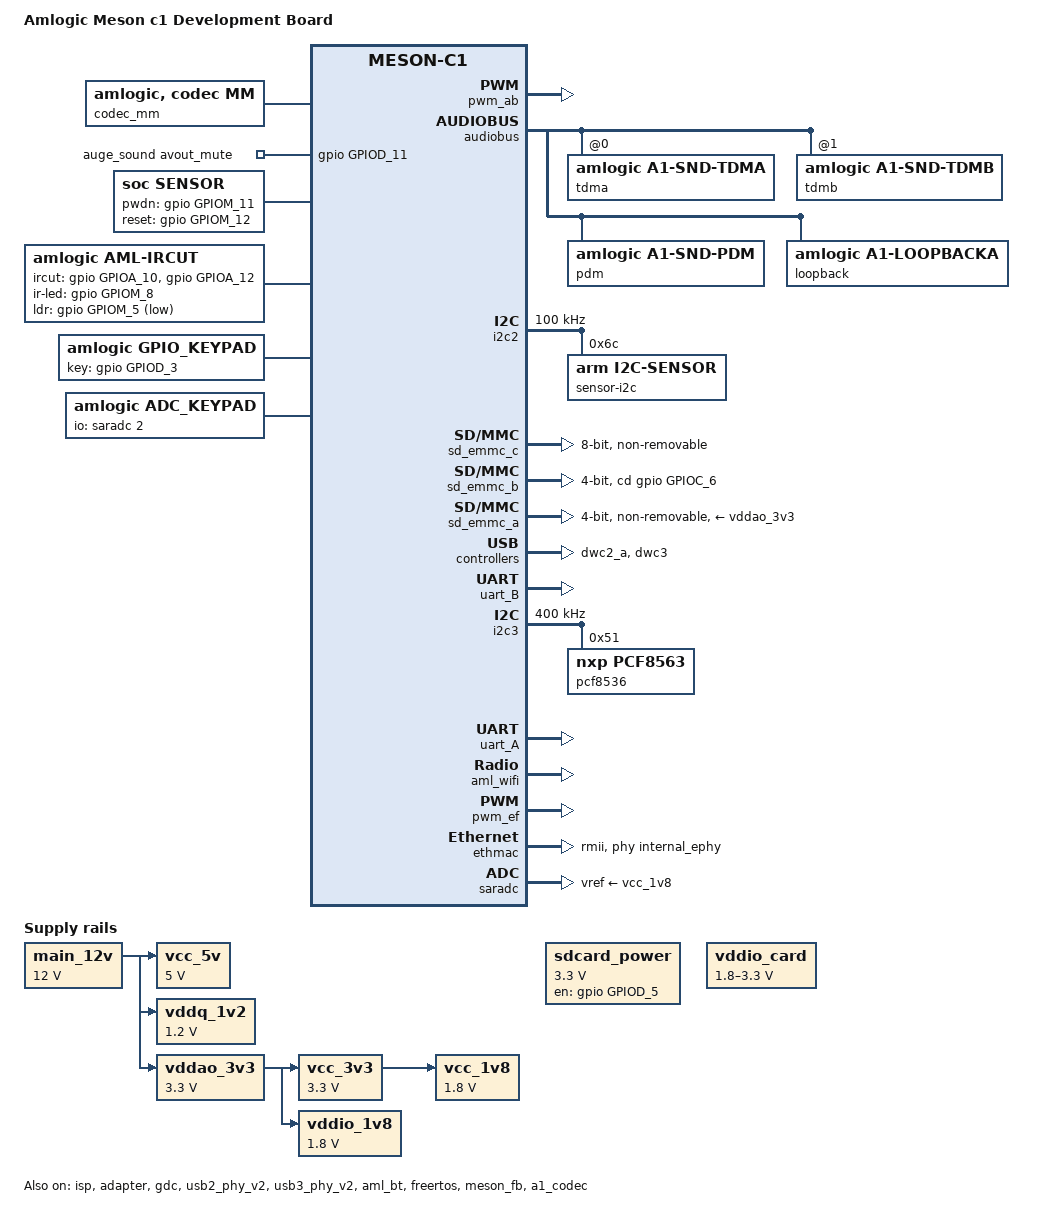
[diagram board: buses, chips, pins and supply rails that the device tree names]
// SPDX-License-Identifier: (GPL-2.0+ OR MIT)
/*
 * Copyright (c) 2019 Amlogic, Inc. All rights reserved.
 */

/dts-v1/;

#include "meson-c1.dtsi"

/ {
	compatible = "amlogic,c1";
	model = "Amlogic Meson c1 Development Board";

	aliases {
		serial0 = &uart_B;
		serial1 = &uart_A;
		serial2 = &uart_C;
		serial3 = &uart_D;
		serial4 = &uart_E;
		i2c0 = &i2c0;
		i2c1 = &i2c1;
		i2c2 = &i2c2;
		i2c3 = &i2c3;
		i2c4 = &i2c4;
		spi0 = &spifc;
		spi1 = &spicc0;
		spi2 = &spicc1;
		tsensor0 = &tsensor;
	};
	chosen {
		stdout-path = "serial0:115200n8";
	};
	memory@0 {
		device_type = "memory";
		linux,usable-memory = <0x0 0x0 0x0 0x80000000>;
	};

	reserved-memory {
		#address-cells = <2>;
		#size-cells = <2>;
		ranges;
		secmon_reserved:linux,secmon {
			compatible = "shared-dma-pool";
			reusable;
			size = <0x0 0x400000>;
			alignment = <0x0 0x400000>;
			alloc-ranges = <0x0 0x05000000 0x0 0x400000>;
		};

		dsp_fw_reserved0:linux,dsp_fw0 {
			compatible = "amlogic, dsp";
			size = <0x0 0x600000>;
			reg = <0x0 0x3400000 0x0 0x600000>;
		};

		dsp_fw_reserved1:linux,dsp_fw1 {
			compatible = "amlogic, dsp";
			size = <0x0 0x200000>;
			reg = <0x0 0x3a00000 0x0 0x200000>;
		};

		autocap_reserved:linux,autocap_reserved {
			compatible = "amlogic, aml_autocap_memory";
			status = "okay";
			size = <0x0 0x25800000>;
			alloc-ranges = <0x0 0x40000000 0x0 0x25800000>;
		};

		ramoops@0x07400000 {
			compatible = "ramoops";
			reg = <0x0 0x07400000 0x0 0x00100000>;
			record-size = <0x20000>;
			console-size = <0x20000>;
			ftrace-size = <0x80000>;
			pmsg-size = <0x0>;
			no-map;
		};

		debug_reserved:linux,iotrace {
			compatible = "amlogic, iotrace";
			reg = <0x0 0x0ff00000 0x0 0x00100000>;
			io-size = <0x1b000>;
			sched-size = <0x2000>;
			irq-size = <0x1000>;
			smc-size = <0x1000>;
			misc-size = <0x1000>;
		};

		fb_reserved:linux,meson-fb {
			compatible = "shared-dma-pool";
			reusable;
			size = <0x0 0x800000>;
			alignment = <0x0 0x400000>;
		};

		codec_mm_cma:linux,codec_mm_cma {
			compatible = "shared-dma-pool";
			reusable;
			/* ion_codec_mm max can alloc size 80M*/
			size = <0x0 0x13400000>;
			alignment = <0x0 0x400000>;
			linux,contiguous-region;
		};
		/* codec shared reserved */
		codec_mm_reserved:linux,codec_mm_reserved {
			compatible = "amlogic, codec-mm-reserved";
			size = <0x0 0x0>;
			alignment = <0x0 0x100000>;
			//no-map;
		};

		isp_cma_reserved:linux,isp_cma {
			compatible = "shared-dma-pool";
			reusable;
			status = "okay";
			size = <0x0 0x10000000>;
			alignment = <0x0 0x400000>;
		};

		adapt_cma_reserved:linux,adapt_cma {
			compatible = "shared-dma-pool";
			reusable;
			status = "okay";
			size = <0x0 0x1800000>;
		};

		ion_cma_reserved:linux,ion-dev {
			compatible = "shared-dma-pool";
			reusable;
			size = <0x0 0x8000000>;
			alignment = <0x0 0x400000>;
		};

		gdc_cma_reserved:linux,gdc_cma {
			compatible = "shared-dma-pool";
			reusable;
			status = "okay";
			size = <0x0 0x04000000>;
			alignment = <0x0 0x400000>;
		};

		jpegenc_cma_reserved:linux,jpegenc_cma {
			compatible = "shared-dma-pool";
			reusable;
			status = "disabled";
			size = <0x0 0x2400000>;
			alignment = <0x0 0x400000>;
		};
	};

	free_reserved {
		compatible = "amlogic, free_reserved";
		memory-region = <&autocap_reserved>;
		status = "okay";
	};

	codec_mm {
		compatible = "amlogic, codec, mm";
		memory-region = <&codec_mm_cma &codec_mm_reserved>;
		dev_name = "codec_mm";
		status = "okay";
	};

	main_12v: regulator-main_12v {
		compatible = "regulator-fixed";
		regulator-name = "12V";
		regulator-min-microvolt = <12000000>;
		regulator-max-microvolt = <12000000>;
		regulator-always-on;
	};

	vcc_5v: regulator-vcc_5v {
		compatible = "regulator-fixed";
		regulator-name = "VCC_5V";
		regulator-min-microvolt = <5000000>;
		regulator-max-microvolt = <5000000>;
		vin-supply = <&main_12v>;
		regulator-always-on;
	};

	vddq_1v2: regulator-vddq_1v2 {
		compatible = "regulator-fixed";
		regulator-name = "VDDQ_1V2";
		regulator-min-microvolt = <1200000>;
		regulator-max-microvolt = <1200000>;
		vin-supply = <&main_12v>;
		regulator-always-on;
	};

	vddao_3v3: regulator-vddao_3v3 {
		compatible = "regulator-fixed";
		regulator-name = "VDDAO_3V3";
		regulator-min-microvolt = <3300000>;
		regulator-max-microvolt = <3300000>;
		vin-supply = <&main_12v>;
		regulator-always-on;
	};

	vcc_3v3: regulator-vcc_3v3 {
		compatible = "regulator-fixed";
		regulator-name = "VCC_3V3";
		regulator-min-microvolt = <3300000>;
		regulator-max-microvolt = <3300000>;
		vin-supply = <&vddao_3v3>;
		regulator-always-on;
	};

	vddio_1v8: regulator-vddio_1v8 {
		compatible = "regulator-fixed";
		regulator-name = "VDDIO_1V8";
		regulator-min-microvolt = <1800000>;
		regulator-max-microvolt = <1800000>;
		vin-supply = <&vddao_3v3>;
		regulator-always-on;
	};

	vcc_1v8: regulator-vcc_1v8 {
		compatible = "regulator-fixed";
		regulator-name = "VCC_1V8";
		regulator-min-microvolt = <1800000>;
		regulator-max-microvolt = <1800000>;
		vin-supply = <&vcc_3v3>;
		regulator-always-on;
	};

	sdcard_power: regulator-sdcard {
		compatible = "regulator-fixed";

		regulator-name = "SDCARD_POWER";
		regulator-min-microvolt = <3300000>;
		regulator-max-microvolt = <3300000>;

		gpio = <&gpio GPIOD_5 GPIO_ACTIVE_HIGH>;
		enable-active-high;
		regulator-boot-on;
	};

	vddio_card: gpio-regulator {
		compatible = "regulator-gpio";

		regulator-name = "VDDIO_CARD";
		regulator-min-microvolt = <1800000>;
		regulator-max-microvolt = <3300000>;

		gpios = <&gpio GPIOC_7 GPIO_ACTIVE_LOW>;
		gpios-states = <1>;

		/* Based on P200 schematics, signal CARD_1.8V/3.3V_CTR */
		states = <1800000 1
			3300000 0>;
	};

	/* Audio Related start */
	pdm_codec:pdm_codec{
		#sound-dai-cells = <0>;
		compatible = "amlogic, pdm_dummy_codec";
		status = "okay";
	};

	dummy_codec:dummy_codec{
		#sound-dai-cells = <0>;
		compatible = "amlogic, aml_dummy_codec";
		status = "okay";
	};

	a1_codec:a1_codec {
		#sound-dai-cells = <0>;
		compatible = "amlogic, a1_acodec";
		status = "okay";
		reg = <0x0 0xFE004800 0x0 0x20>;
		tdmout_index = <1>;
		tdmin_index = <1>;
		dat0_ch_sel = <0>;
		dacr_output_inv = <0>;
		power-domains = <&pwrdm PDID_CX_ACODEC>;
	};

	partitions: partitions{
		parts = <16>;
		part-0 = <&rtos>;
		part-1 = <&NBG>;
		part-2 = <&dspA>;
		part-3 = <&dspB>;
		part-4 = <&recovery>;
		part-5 = <&misc>;
		part-6 = <&dto>;
		part-7 = <&cri_data>;
		part-8 = <&param>;
		part-9 = <&boot>;
		part-10 = <&rsv>;
		part-11= <&tee>;
		part-12 = <&vendor>;
		part-13 = <&odm>;
		part-14 = <&system>;
		part-15 = <&data>;

		rtos:rtos{
			pname = "rtos-0";
			size = <0x0 0x800000>;
			mask = <8>;
		};
		NBG:NBG{
			pname = "NBG";
			size = <0x0 0x200000>;
			mask = <8>;
		};
		dspA:dspA{
			pname = "dspA";
			size = <0x0 0x200000>;
			mask = <1>;
		};
		dspB:dspB{
			pname = "dspB";
			size = <0x0 0x200000>;
			mask = <1>;
		};
		recovery:recovery{
			pname = "recovery";
			size = <0x0 0x3000000>;
			mask = <1>;
		};
		misc:misc{
			pname = "misc";
			size = <0x0 0x800000>;
			mask = <1>;
		};
		dto:dto{
			pname = "dto";
			size = <0x0 0x800000>;
			mask = <1>;
		};
		cri_data:cri_data{
			pname = "cri_data";
			size = <0x0 0x800000>;
			mask = <2>;
		};
		rsv:rsv{
			pname = "rsv";
			size = <0x0 0x1000000>;
			mask = <1>;
		};
		param:param{
			pname = "param";
			size = <0x0 0x1000000>;
			mask = <2>;
		};
		boot:boot{
			pname = "boot";
			size = <0x0 0x3000000>;
			mask = <1>;
		};
		tee:tee{
			pname = "tee";
			size = <0x0 0x2000000>;
			mask = <1>;
		};
		vendor:vendor{
			pname = "vendor";
			size = <0x0 0x10000000>;
			mask = <1>;
		};
		odm:odm{
			pname = "odm";
			size = <0x0 0x10000000>;
			mask = <1>;
		};
		system:system{
			pname = "system";
			size = <0x0 0x80000000>;
			mask = <1>;
		};
		data:data{
			pname = "data";
			size = <0xffffffff 0xffffffff>;
			mask = <4>;
		};
	};

	auge_sound {
		compatible = "amlogic, auge-sound-card";
		aml-audio-card,name = "AML-AUGESOUND";

		/*avout mute gpio*/
		avout_mute-gpios = <&gpio GPIOD_11 GPIO_ACTIVE_HIGH>;

		aml-audio-card,dai-link@0 {
			format = "dsp_a";
			mclk-fs = <512>;
			//continuous-clock;
			//bitclock-inversion;
			//frame-inversion;
			/* master mode */
			bitclock-master = <&tdma>;
			frame-master = <&tdma>;
			/* slave mode */
			/*
			 * bitclock-master = <&tdmacodec>;
			 * frame-master = <&tdmacodec>;
			 */
			suffix-name = "alsaPORT-pcm";
			tdmacpu: cpu {
				sound-dai = <&tdma>;
				dai-tdm-slot-tx-mask =
							<1 1 1 1 1 1 1 1>;
				dai-tdm-slot-rx-mask =
							<1 1 1 1 1 1 1 1>;
				dai-tdm-slot-num = <8>;
				dai-tdm-slot-width = <32>;
				system-clock-frequency = <24576000>;
			};
			tdmacodec: codec {
				sound-dai = <&dummy_codec>;
			};
		};

		aml-audio-card,dai-link@1 {
			format = "i2s";// "dsp_a";
			mclk-fs = <256>;
			//continuous-clock;
			//bitclock-inversion;
			//frame-inversion;
			/* master mode */
			bitclock-master = <&tdmb>;
			frame-master = <&tdmb>;
			/* slave mode */
			//bitclock-master = <&tdmbcodec>;
			//frame-master = <&tdmbcodec>;
			/* suffix-name, sync with android audio hal
			 * what's the dai link used for
			 */
			suffix-name = "alsaPORT-i2s";
			tdmbcpu: cpu {
				sound-dai = <&tdmb>;
				dai-tdm-slot-tx-mask = <1 1>;
				dai-tdm-slot-rx-mask = <1 1>;
				dai-tdm-slot-num = <2>;
				dai-tdm-slot-width = <32>;
				system-clock-frequency = <24576000>;
			};
			tdmbcodec: codec {
				sound-dai = <&a1_codec>;
			};
		};

#if 0
		aml-audio-card,dai-link@2 {
			format = "i2s";// "dsp_a";
			mclk-fs = <256>;
			//continuous-clock;
			//bitclock-inversion;
			//frame-inversion;
			/* master mode */
			bitclock-master = <&tdmlb>;
			frame-master = <&tdmlb>;
			/* slave mode */
			//bitclock-master = <&tdmlbcodec>;
			//frame-master = <&tdmlbcodec>;
			/* suffix-name, sync with android audio hal
			 * what's the dai link used for
			 */
			suffix-name = "alsaPORT-i2s";
			cpu {
				sound-dai = <&tdmlb>;
				dai-tdm-slot-tx-mask = <1 1>;
				dai-tdm-slot-rx-mask = <1 1>;
				dai-tdm-slot-num = <2>;
				dai-tdm-slot-width = <32>;
				system-clock-frequency = <12288000>;
			};
			tdmlbcodec: codec {
				sound-dai = <&dummy_codec>;
			};
		};
#endif

		aml-audio-card,dai-link@2 {
			mclk-fs = <64>;
			/* suffix-name, sync with android audio hal
			 * what's the dai link used for
			 */
			suffix-name = "alsaPORT-pdm";
			cpu {
				sound-dai = <&pdm>;
			};
			codec {
				sound-dai = <&dummy_codec>;
			};
		};

#if 0
		aml-audio-card,dai-link@3 {
			mclk-fs = <128>;
			/* suffix-name, sync with android audio hal used for */
			suffix-name = "alsaPORT-spdif";
			cpu {
				sound-dai = <&spdifa>;
				system-clock-frequency = <6144000>;
			};
			codec {
				sound-dai = <&dummy_codec>;
			};
		};
#endif

		aml-audio-card,dai-link@4 {
			mclk-fs = <256>;
			continuous-clock;
			suffix-name = "alsaPORT-loopback";
			cpu {
				sound-dai = <&loopback>;
				system-clock-frequency = <12288000>;
			};
			codec {
				sound-dai = <&dummy_codec>;
			};
		};
	};
	audiolocker: locker {
		compatible = "amlogic, audiolocker";
		clocks = <&clkaudio CLKID_AUDIO_LOCKER_OUT
				&clkaudio CLKID_AUDIO_LOCKER_IN
				&clkaudio CLKID_AUDIO_MCLK_C
				&clkaudio CLKID_AUDIO_MCLK_D
				&clkc CLKID_FCLK_DIV2
				&clkc CLKID_FCLK_DIV3>;
		clock-names = "lock_out", "lock_in", "out_src",
					"in_src", "out_calc", "in_ref";
		interrupts = <GIC_SPI 42 IRQ_TYPE_EDGE_RISING>;
		interrupt-names = "irq";
		frequency = <49000000>; /* pll */
		dividor = <49>; /* locker's parent */
		power-domains = <&pwrdm PDID_CX_AUDIO>;
		status = "okay";
	};
	/* Audio Related end */
	sensor: sensor {
		compatible = "soc, sensor";
		status = "okay";
		sensor-name = "os08a10"; /*imx290;os08a10;imx227*/
		pinctrl-names= "default", "mclk37_pin";
		pinctrl-0= <&clk12_24_m13_pins>;
		pinctrl-1= <&cmclkout2_pins>;
		//clocks = <&clkc CLKID_24M
		//			&clkc CLKID_GP_DIV2_DIV>;
		clock-names = "g12a_24m","mclk_0";
		pwdn = <&gpio GPIOM_11 GPIO_ACTIVE_HIGH>;
		reset = <&gpio GPIOM_12 GPIO_ACTIVE_HIGH>;
#if 0
		ir_cut_gpio = <&gpio GPIOA_10 GPIO_ACTIVE_HIGH
				&gpio GPIOA_12 GPIO_ACTIVE_HIGH>;
#endif
	};

	iq: iq {
		compatible = "soc, iq";
		status = "okay";
		sensor-name = "os08a10"; /*imx290;os08a10;imx227*/
	};

	lens: lens {
		compatible = "soc, lens";
		status = "okay";
		sensor-name = "imx307"; /*imx290;os08a10;imx227*/
	};

	ircut: ircut {
		compatible = "amlogic, aml-ircut";
		status = "okay";
		ircut-gpio = <&gpio GPIOA_10 GPIO_ACTIVE_HIGH
				&gpio GPIOA_12 GPIO_ACTIVE_HIGH>;
		ir-led-gpio = <&gpio GPIOM_8 GPIO_ACTIVE_HIGH>;
		ldr-gpio = <&gpio GPIOM_5 GPIO_ACTIVE_LOW>;
		// sequence description
		//   0: port 0(GPIOA_10), 0=0, set port 0 to Low
		//   w: wait mseconds
		ircut-sequence = "init: 1=1,w=200,1=0,w=1000,0=1,w=200,0=0,w=1000",
				"enable: 1=1,w=200,1=0,w=1000,0=0",
				"disable: 0=1,w=200,0=0,w=1000,1=0";
		ir-led-sequence = "init: 0=0",
				"enable: 0=1",
				"disable: 0=0";
	};

	cpu_opp_table0: cpu_opp_table0 {
		compatible = "operating-points-v2";
		opp-shared;

		opp00 {
			opp-hz = /bits/ 64 <100000000>;
			opp-microvolt = <910000>;
		};
		opp01 {
			opp-hz = /bits/ 64 <250000000>;
			opp-microvolt = <910000>;
		};
		opp02 {
			opp-hz = /bits/ 64 <500000000>;
			opp-microvolt = <910000>;
		};
		opp03 {
			opp-hz = /bits/ 64 <666666666>;
			opp-microvolt = <910000>;
		};
		opp04 {
			opp-hz = /bits/ 64 <1000000000>;
			opp-microvolt = <910000>;
		};
		opp05 {
			opp-hz = /bits/ 64 <1200000000>;
			opp-microvolt = <910000>;
		};
		opp06 {
			opp-hz = /bits/ 64 <1416000000>;
			opp-microvolt = <980000>;
		};
		opp07 {
			opp-hz = /bits/ 64 <1512000000>;
			opp-microvolt = <980000>;
		};
	};

	cpu_opp_table1: cpu_opp_table1 {
		compatible = "operating-points-v2";
		opp-shared;

		opp00 {
			opp-hz = /bits/ 64 <100000000>;
			opp-microvolt = <880000>;
		};
		opp01 {
			opp-hz = /bits/ 64 <250000000>;
			opp-microvolt = <880000>;
		};
		opp02 {
			opp-hz = /bits/ 64 <500000000>;
			opp-microvolt = <880000>;
		};
		opp03 {
			opp-hz = /bits/ 64 <666666666>;
			opp-microvolt = <880000>;
		};
		opp04 {
			opp-hz = /bits/ 64 <1000000000>;
			opp-microvolt = <880000>;
		};
		opp05 {
			opp-hz = /bits/ 64 <1200000000>;
			opp-microvolt = <880000>;
		};
		opp06 {
			opp-hz = /bits/ 64 <1416000000>;
			opp-microvolt = <930000>;
		};
		opp07 {
			opp-hz = /bits/ 64 <1512000000>;
			opp-microvolt = <930000>;
		};
	};

	cpu_opp_table2: cpu_opp_table2 {
		compatible = "operating-points-v2";
		opp-shared;

		opp00 {
			opp-hz = /bits/ 64 <100000000>;
			opp-microvolt = <860000>;
		};
		opp01 {
			opp-hz = /bits/ 64 <250000000>;
			opp-microvolt = <860000>;
		};
		opp02 {
			opp-hz = /bits/ 64 <500000000>;
			opp-microvolt = <860000>;
		};
		opp03 {
			opp-hz = /bits/ 64 <666666666>;
			opp-microvolt = <860000>;
		};
		opp04 {
			opp-hz = /bits/ 64 <1000000000>;
			opp-microvolt = <860000>;
		};
		opp05 {
			opp-hz = /bits/ 64 <1200000000>;
			opp-microvolt = <860000>;
		};
		opp06 {
			opp-hz = /bits/ 64 <1416000000>;
			opp-microvolt = <910000>;
		};
		opp07 {
			opp-hz = /bits/ 64 <1512000000>;
			opp-microvolt = <910000>;
		};
	};

	cpu_opp_table3: cpu_opp_table3 {
		compatible = "operating-points-v2";
		opp-shared;

		opp00 {
			opp-hz = /bits/ 64 <100000000>;
			opp-microvolt = <830000>;
		};
		opp01 {
			opp-hz = /bits/ 64 <250000000>;
			opp-microvolt = <830000>;
		};
		opp02 {
			opp-hz = /bits/ 64 <500000000>;
			opp-microvolt = <830000>;
		};
		opp03 {
			opp-hz = /bits/ 64 <666666666>;
			opp-microvolt = <830000>;
		};
		opp04 {
			opp-hz = /bits/ 64 <1000000000>;
			opp-microvolt = <830000>;
		};
		opp05 {
			opp-hz = /bits/ 64 <1200000000>;
			opp-microvolt = <830000>;
		};
		opp06 {
			opp-hz = /bits/ 64 <1416000000>;
			opp-microvolt = <880000>;
		};
		opp07 {
			opp-hz = /bits/ 64 <1512000000>;
			opp-microvolt = <880000>;
		};
	};

	cpufreq-meson {
		compatible = "amlogic, cpufreq-meson";
		status = "okay";
	};

	gpio_keypad{
		compatible = "amlogic, gpio_keypad";
		status = "okay";
		scan_period = <20>;
		key_num = <1>;
		key_name = "power";
		key_code = <116>;
		key-gpios = <&gpio  GPIOD_3  GPIO_ACTIVE_HIGH>;
		detect_mode = <0>;/*0:polling mode, 1:irq mode*/
	};

	adc_keypad {
		compatible = "amlogic, adc_keypad";
		status = "okay";
		key_name = "update", "vol-", "vol+", "ok";
		key_num = <4>;
		io-channels = <&saradc 2>;
		io-channel-names = "key-chan-2";
		key_chan = <2 2 2 2>;
		key_code = <141 114 115 28>;
		key_val = <0 143 266 389>; //val=voltage/1800mV*1023
		key_tolerance = <40 40 40 40>;
	};
};

&cpu0 {
	cpu-supply = <&vddcpu0>;
	/*set different table cpufreq max*/
	multi_tables_available;
	operating-points-v2 = <&cpu_opp_table0>,
			<&cpu_opp_table1>,
			<&cpu_opp_table2>,
			<&cpu_opp_table3>;
};

&cpu1 {
	cpu-supply = <&vddcpu0>;
	/*set different table cpufreq max*/
	multi_tables_available;
	operating-points-v2 = <&cpu_opp_table0>,
			<&cpu_opp_table1>,
			<&cpu_opp_table2>,
			<&cpu_opp_table3>;
};

&pwm_ab {
	status = "okay";
};

&vddcpu0 {
	status = "okay";
};

/* Audio Related start */
&audiobus {
	tdma: tdm@0 {
		compatible = "amlogic, a1-snd-tdma";
		#sound-dai-cells = <0>;
		dai-tdm-lane-slot-mask-in = <0 1>;
		dai-tdm-lane-oe-slot-mask-out = <1 0>;
		dai-tdm-clk-sel = <0>;
		clocks = <&clkaudio CLKID_AUDIO_MCLK_A
				&clkc CLKID_FCLK_DIV3>;
		clock-names = "mclk", "clk_srcpll";
		pinctrl-names = "tdm_pins";
		pinctrl-0 = <&tdmout_a &tdmin_a>;
		power-domains = <&pwrdm PDID_CX_AUDIO>;

		status = "okay";
	};

	tdmb: tdm@1 {
		compatible = "amlogic, a1-snd-tdmb";
		#sound-dai-cells = <0>;
		dai-tdm-lane-slot-mask-in = <1 0 0 0>;
		dai-tdm-lane-slot-mask-out = <1 0 0 0>;
		/* dai-tdm-lane-oe-slot-mask-in = <0 1>; */
		dai-tdm-clk-sel = <1>;
		clocks = <&clkaudio CLKID_AUDIO_MCLK_B
				&clkc CLKID_AUD_DDS>;
				//&clkaudio CLKID_AUDIO_SPDIFOUT_A>;
		clock-names = "mclk", "clk_srcpll";
		pinctrl-names = "tdm_pins";
		pinctrl-0 = <&tdmb_mclk &tdmout_b /*&tdmin_b*/>;

		mclk_pad = <0>;  /* 0: mclk_0; 1: mclk_1 */

		/* tdmin data comes from ACODEC adc */
		acodec_adc = <1>;

		/*
		 * 0: tdmout_a;
		 * 1: tdmout_b;
		 * 2: tdmout_c;
		 * 3: spdifout;
		 * 4: spdifout_b;
		 */
		//samesource_sel = <3>;
		start_clk_enable = <1>;
		src-clk-freq = <24576000>;
		power-domains = <&pwrdm PDID_CX_AUDIO>;

		status = "okay";
	};

	spdifa: spdif@0 {
		compatible = "amlogic, a1-snd-spdif-a";
		#sound-dai-cells = <0>;
		clocks = <&clkc CLKID_FCLK_DIV3
				&clkaudio CLKID_AUDIO_GATE_SPDIFIN
				&clkaudio CLKID_AUDIO_SPDIFIN>;
		clock-names = "fixed_clk", "gate_spdifin", "clk_spdifin";
		interrupts =
				<GIC_SPI 39 IRQ_TYPE_EDGE_RISING>;

		interrupt-names = "irq_spdifin";
		pinctrl-names = "spdif_pins";
		pinctrl-0 = <&spdifin>;
		power-domains = <&pwrdm PDID_CX_AUDIO>;

		status = "disabled";
	};

	pdm: pdm {
		compatible = "amlogic, a1-snd-pdm";
		#sound-dai-cells = <0>;

		clocks = <&clkaudio CLKID_AUDIO2_GATE_PDM
			&clkc CLKID_FCLK_DIV2
			&clkc CLKID_AUD_DDS
			&clkaudio CLKID_AUDIO2_PDM_DCLK
			&clkaudio CLKID_AUDIO2_PDM_SYSCLK>;
		clock-names = "gate",
			"sysclk_srcpll",
			"dclk_srcpll",
			"pdm_dclk",
			"pdm_sysclk";

		pinctrl-names = "pdm_pins";
		pinctrl-0 = <&pdmin>;

		/* mode 0~4, defalut:1 */
		filter_mode = <1>;
		lane-mask-in = <1 1 0 0>;
		src-clk-freq = <24576000>;
		power-domains = <&pwrdm PDID_CX_PDM>;
		train_sample_count = <10>;
		status = "okay";
	};

	asrcb: resample@1 {
		compatible = "amlogic, a1-resample-b";
		clocks = <&clkc CLKID_AUD_DDS
			&clkaudio CLKID_AUDIO_MCLK_D
			&clkaudio CLKID_AUDIO_RESAMPLEA>;
		clock-names = "resample_pll", "resample_src", "resample_clk";

		/*this resample is only used for loopback_A.*/
		/*only support 16000 or 48000Hz for capture*/
		capture_sample_rate = <16000>;
		src-clk-freq = <24576000>;
		status = "disabled";
	};

	loopback: loopback {
		compatible = "amlogic, a1-loopbacka";
		#sound-dai-cells = <0>;

		clocks = <&clkaudio CLKID_AUDIO2_GATE_PDM
			&clkc CLKID_FCLK_DIV2
			&clkc CLKID_AUD_DDS
			&clkaudio CLKID_AUDIO2_PDM_DCLK
			&clkaudio CLKID_AUDIO2_PDM_SYSCLK
			&clkc CLKID_AUD_DDS
			&clkaudio CLKID_AUDIO_MCLK_C>;
		clock-names = "pdm_gate",
			"pdm_sysclk_srcpll",
			"pdm_dclk_srcpll",
			"pdm_dclk",
			"pdm_sysclk",
			"tdminlb_mpll",
			"tdminlb_mclk";

		/* datain src
		 * 0: tdmin_a;
		 * 1: tdmin_b;
		 * 2: tdmin_c;
		 * 3: spdifin;
		 * 4: pdmin;
		 */
		datain_src = <1>;
		datain_chnum = <1>;
		datain_chmask = <0x1>;
		/* config which data pin for loopback */
		datain-lane-mask-in = <1 0 0 0>;

		/* calc mclk for datalb */
		mclk-fs = <256>;

		/* tdmin_lb src
		 * 0: tdmoutA
		 * 1: tdmoutB
		 * 2: tdmoutC
		 * 3: PAD_TDMINA_DIN*, refer to core pinmux
		 * 4: PAD_TDMINB_DIN*, refer to core pinmux
		 * 5: PAD_TDMINC_DIN*, refer to core pinmux
		 * 6: PAD_TDMINA_D*, oe, refer to core pinmux
		 * 7: PAD_TDMINB_D*, oe, refer to core pinmux
		 */
		/* if tdmin_lb >= 3, use external loopback */
		datalb_src = <1>;
		datalb_chnum = <2>;
		datalb_chmask = <0x1>;
		/* config which data pin as loopback */
		datalb-lane-mask-in = <1 0 0 0>;
		src-clk-freq = <24576000>;
		power-domains = <&pwrdm PDID_CX_AUDIO>;

		status = "okay";
	};
}; /* end of audiobus */
/* Audio Related end */

&i2c2 {
	status = "okay";
	pinctrl-names="default";
	pinctrl-0=<&i2c2_master_pins2>;
	clock-frequency = <100000>; /* default 100k */
	sensor-i2c@6c {
		compatible = "arm, i2c-sensor";
		reg = <0x6c>;
		reg-names = "i2c-sensor";
		slave-addr = <0x6c>;
		reg-type = <2>;
		reg-data-type = <1>;
		link-device = <&phycsi>;
	};
};

&isp {
	status = "okay";
	temper-line-offset = <0x1680>;
	temper-buf-size = <12>;
	temper-frame-num = <1>;
	temper-frame-size = <0xBDD800>;
	memory-region = <&isp_cma_reserved>;
};

&adapter {
	status = "okay";
	mem_alloc = <24>;
	memory-region = <&adapt_cma_reserved>;
};

&pinctrl_periphs {
	/* Audio Related start */
	tdmout_a: tdmout_a {
		mux { /* GPIOX_11, GPIOX_10, GPIOX_9 */
			groups = "tdm_a_sclk",
				"tdm_a_fs",
				"tdm_a_dout0";
			function = "tdm_a";
		};
	};

	tdmin_a: tdmin_a {
		mux { /* GPIOX_8 */
			groups = "tdm_a_din1";
			function = "tdm_a";
		};
	};

	tdmb_mclk: tdmb_mclk {
		mux {
			groups = "mclk_0";
			function = "mclk_0";
			drive-strength = <2>;
		};
	};

	tdmout_b: tdmout_b {
		mux { /* GPIOA_1, GPIOA_2, GPIOA_3 */
			groups = "tdm_b_sclk",
				"tdm_b_fs",
				"tdm_b_dout0";
			function = "tdm_b";
			drive-strength = <2>;
		};
	};

	tdmin_b:tdmin_b {
		mux { /* GPIOA_7 */
			groups = "tdm_b_din0";
			function = "tdm_b";
			drive-strength = <2>;
		};
	};

	spdifin: spdifin {
		mux {/* GPIOF_6 */
			groups = "spdif_in_f6";
			function = "spdif_in";
		};
	};

	pdmin: pdmin {
		mux { /* GPIOA_6, GPIOA_7, GPIOA_8, GPIOA_9 */
			groups =
				"pdm_din1_m",
				"pdm_din0_m",
				"pdm_dclk_m";
			function = "pdm";
		};
	};

	/* Audio Related end */
	cmclkout2_pins:cmclkout2_pins {
		mux {
			groups = "cmclkout2";
			function = "cmclkout";
			drive-strength = <4>;
		};
	};
	clk12_24_m13_pins:clk12_24_m13_pins {
		mux {
			groups = "clk12_24_m13";
			function = "clk12_24";
			drive-strength = <4>;
		};
	};
}; /* end of pinctrl_periphs */

&gdc {
	status = "okay";
	memory-region = <&gdc_cma_reserved>;
};

&sd_emmc_c {
	status = "okay";
	pinctrl-0 = <&emmc_pins>;
	pinctrl-1 = <&emmc_clk_gate_pins>;
	pinctrl-names = "default", "clk-gate";
	bus-width = <8>;
	cap-sd-highspeed;
	cap-mmc-highspeed;
//	cap-mmc-hw-reset;
	max-frequency = <50000000>;
	non-removable;
	disable-wp;
//	mmc-cap-erase;
	//mmc-ddr-1_8v;
//	mmc-hs200-1_8v;
//	mmc-hs400-1_8v;
	card_type = <1>;/*emmc:1,sdcard:2,sdio:3*/
//	vmmc-supply = <&vcc_3v3>;
//	vqmmc-supply = <&vcc_1v8>;
};

/* SD card */
&sd_emmc_b {
	status = "okay";
	pinctrl-0 = <&sdcard_pins>;
	pinctrl-1 = <&sdcard_clk_gate_pins>;
	pinctrl-2 = <&sd_1bit_pins>;
	//pinctrl-3 = <&b_uart_pins1
	//	&sdcard_clk_gate_pins &ao_to_sd_uart_pins>;
	//pinctrl-4 = <&b_uart_pins1
	//	&sd_1bit_pins &ao_to_sd_uart_pins>;
	//pinctrl-5 = <&sdcard_pins &b_uart_enable_pins1>;
	//pinctrl-6 = <&b_uart_pins1
	//	&ao_to_sd_uart_pins>;
	//pinctrl-7 = <&sdcard_pins &b_uart_enable_pins1>;
	//pinctrl-8 = <&b_uart_pins1
	//	&ao_to_sd_uart_pins>;
	//pinctrl-9 = <&sdcard_pins_sleep>;
	pinctrl-names = "sd_default",
			"clk-gate",
			"sd_1bit_pins";
	//		"sd_clk_cmd_uart_pins",
	//		"sd_1bit_uart_pins",
	//		"sd_to_ao_uart_pins",
	//		"ao_to_sd_uart_pins",
	//		"sd_to_ao_jtag_pins",
	//		"ao_to_sd_jtag_pins",
	//		"sleep";
	bus-width = <4>;
	cap-sd-highspeed;
	max-frequency = <50000000>;
	disable-wp;
	cd-gpios = <&gpio GPIOC_6 GPIO_ACTIVE_HIGH>;
	//dat1-gpios = <&gpio GPIOC_1 GPIO_ACTIVE_HIGH>;
	//dat3-gpios = <&gpio GPIOC_3 GPIO_ACTIVE_HIGH>;
	//cd-inverted;
	card_type = <5>;
	//vmmc-supply = <&sdcard_power>;
	//vqmmc-supply = <&vddio_card>;
};

/*sdio*/
&sd_emmc_a {
	status = "okay";
	pinctrl-0 = <&sdio_pins>;
	pinctrl-1 = <&sdio_clk_gate_pins>;
	pinctrl-names = "default", "clk-gate";
	bus-width = <4>;
	cap-sd-highspeed;
	sd-uhs-sdr12;
	sd-uhs-sdr25;
	sd-uhs-sdr50;
	sd-uhs-sdr104;
	non-removable;
	max-frequency = <200000000>;
	disable-wp;
	cap-sdio-irq;
	keep-power-in-suspend;
	card_type = <3>;
	vmmc-supply = <&vddao_3v3>;
	vqmmc-supply = <&vcc_1v8>;
};

&mtd_nand {
	status = "disabled";
	#address-cells = <1>;
	#size-cells = <0>;

	pinctrl-names = "nand_norb_mod", "nand_cs_only";
	pinctrl-0 = <&all_nand_pins>;
	pinctrl-1 = <&nand_cs_pins>;
	/* bl_mode: 0 compact mode; 1 discrete mode */
	bl_mode = <1>;
	fip_copies = <4>;
	fip_size = <0x200000>;
	ship_bad_block = <1>;
	disa_irq_flag = <1>;
	nand@bootloader {
		reg = <0>;
		#address-cells = <1>;
		#size-cells = <1>;
		nand-ecc-maximize;
		partition@0 {
			label = "bootloader";
			reg = <0x0 0x00000000>;
		};
	};
	nand@normal {
		reg = <0>;
		#address-cells = <1>;
		#size-cells = <1>;
		nand-ecc-maximize;

		partition@0 {
			label = "tpl";
			reg = <0x0 0x00000000>;
		};
		partition@1 {
			label = "logo";
			reg = <0x0 0x00200000>;
		};
		partition@2 {
			label = "recovery";
			reg = <0x0 0x1000000>;
		};
		partition@3 {
			label = "boot";
			reg = <0x0 0x0F00000>;
		};
		partition@4 {
			label = "system";
			reg = <0x0 0x11800000>;
		};
		partition@5 {
			label = "data";
			reg = <0x0 0xffffffff>;
		};
	};

};

&dwc2_a {
	status = "okay";
	/** 0: normal, 1: otg+dwc3 host only, 2: otg+dwc3 device only*/
	controller-type = <3>;
};

&dwc3 {
	status = "okay";
};

&usb2_phy_v2 {
	status = "okay";
	portnum = <1>;
	otg-phy-index = <0>;
};

&usb3_phy_v2 {
	status = "okay";
	portnum = <0>;
	otg = <1>;
	gpio-vbus-power = "GPIOD_9";
	gpios = <&gpio GPIOD_9 GPIO_ACTIVE_HIGH>;
};

&uart_B {
	status = "okay";
};

&i2c3 {
	status = "okay";
	pinctrl-names="default";
	pinctrl-0=<&i2c3_master_pins2>;
	clock-frequency = <400000>; /* max supported freq */

	pcf8536@51 {
		compatible = "nxp,pcf8563";
		reg = <0x51>;
	};
};

&spifc {
	status = "disabled";
	pinctrl-names = "default";
	pinctrl-0 = <&spifc_pins>;
	spi-nor@1 {
		compatible = "jedec,spi-nor";
		spi-max-frequency = <96000000>;
		reg = <1>;
	};
	spi-nand@0 {
		compatible = "spi-nand";
		status = "okay";
		reg = <0>;
		spi-max-frequency = <96000000>;
		bl_mode = <1>;
		fip_copies = <4>;
		fip_size = <0x200000>;
		partition = <&snand_partitions>;
		snand_partitions: snand_partitions{
			bootloader{
				offset=<0x0 0x0>;
				size=<0x0 0x0>;
			};
			tpl{
				offset=<0x0 0x0>;
				size=<0x0 0x0>;
			};
			logo{
				offset=<0x0 0x0>;
				size=<0x0 0x200000>;
			};
			recovery{
				offset=<0x0 0x0>;
				size=<0x0 0x1000000>;
			};
			boot{
				offset=<0x0 0x0>;
				size=<0x0 0x1000000>;
			};
			system{
				offset=<0x0 0x0>;
				size=<0x0 0x4000000>;
			};
			data{
				offset=<0xffffffff 0xffffffff>;
				size=<0x0 0x0>;
			};
		};
	};
};

&spicc0 {
	status = "disabled";
	pinctrl-names = "default";
	pinctrl-0 = <&spicc0_pins1>;
	cs-gpios = <&gpio GPIOA_8 0>;
};

&spicc1 {
	status = "disabled";
	pinctrl-names = "default";
	pinctrl-0 = <&spicc1_pins1>;
	cs-gpios = <&gpio GPIOA_14 0>;
};

&uart_A {
	status = "okay";
};

&uart_C {
	status = "disabled";
	rs485 = <1>;
	rts-gpio = <&gpio GPIOA_0 GPIO_ACTIVE_HIGH>;
};

&aml_wifi {
	status = "okay";
};

&aml_bt {
	status = "okay";
};

&pwm_ef {
	status = "okay";
	pinctrl-names = "default";
	pinctrl-0 = <&pwm_e_pins1>;
};

&ethmac {
	status = "okay";
	phy-handle = <&internal_ephy>;
	phy-mode = "rmii";
};

&freertos {
	status = "okay";
};

&saradc {
	status = "okay";
	vref-supply = <&vcc_1v8>;
};

&meson_fb {
	status = "okay";
	display_size_default = <1920 1080 1920 1080 32>;
	mem_size = <0x00800000>;
};
